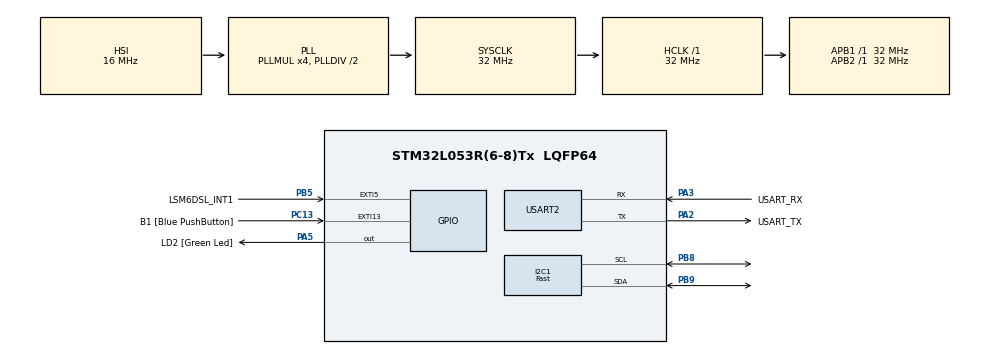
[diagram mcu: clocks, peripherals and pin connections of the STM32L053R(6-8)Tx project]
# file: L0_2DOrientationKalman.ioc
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I2C1.I2C_Speed_Mode=I2C_Fast
I2C1.Timing=0x00300F38
Mcu.Family=STM32L0
Mcu.Name=STM32L053R(6-8)Tx
Mcu.Package=LQFP64
NVIC.EXTI4_15_IRQn=true\:0\:0\:false\:true\:true\:1\:true
PA13.GPIO_Label=TMS
PA13.Mode=Serial_Wire
PA13.Signal=SYS_SWDIO
PA14.GPIO_Label=TCK
PA14.Mode=Serial_Wire
PA14.Signal=SYS_SWCLK
PA2.GPIO_Label=USART_TX
PA2.Mode=Asynchronous
PA2.Signal=USART2_TX
PA3.GPIO_Label=USART_RX
PA3.Mode=Asynchronous
PA3.Signal=USART2_RX
PA5.GPIO_Label=LD2 [Green Led]
PA5.Signal=GPIO_Output
PB5.GPIO_Label=LSM6DSL_INT1
PB5.Signal=GPXTI5
PB8.Mode=I2C
PB8.Signal=I2C1_SCL
PB9.Mode=I2C
PB9.Signal=I2C1_SDA
PC13.GPIO_Label=B1 [Blue PushButton]
PC13.GPIO_ModeDefaultEXTI=GPIO_MODE_IT_FALLING
PC13.Signal=GPXTI13
PC14-OSC32_IN.Signal=RCC_OSC32_IN
PC15-OSC32_OUT.Signal=RCC_OSC32_OUT
PH0-OSC_IN.Signal=RCC_OSC_IN
PH1-OSC_OUT.Signal=RCC_OSC_OUT
ProjectManager.HeapSize=0x200
ProjectManager.StackSize=0x400
ProjectManager.TargetToolchain=SW4STM32
RCC.AHBFreq_Value=32000000
RCC.APB1Freq_Value=32000000
RCC.APB1TimFreq_Value=32000000
RCC.APB2Freq_Value=32000000
RCC.APB2TimFreq_Value=32000000
RCC.HCLKFreq_Value=32000000
RCC.HSE_VALUE=8000000
RCC.HSI16_VALUE=16000000
RCC.HSI48_VALUE=48000000
RCC.HSI_VALUE=16000000
RCC.LSEState=RCC_LSE_ON
RCC.LSE_VALUE=32768
RCC.MSI_VALUE=2097000
RCC.PLLMUL=RCC_PLLMUL_4
RCC.SYSCLKFreq_VALUE=32000000
RCC.SYSCLKSource=RCC_SYSCLKSOURCE_PLLCLK
RCC.VCOOutputFreq_Value=64000000
USART2.VirtualMode-Asynchronous=VM_ASYNC
USART2.WordLength=WORDLENGTH_8B
board=NUCLEO-L053R8

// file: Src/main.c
/**
  ******************************************************************************
  * File Name          : main.c
  * Description        : Main program body
  ******************************************************************************
  ** This notice applies to any and all portions of this file
  * that are not between comment pairs USER CODE BEGIN and
  * USER CODE END. Other portions of this file, whether
  * inserted by the user or by software development tools
  * are owned by their respective copyright owners.
  *
  * COPYRIGHT(c) 2017 STMicroelectronics
  *
  * Redistribution and use in source and binary forms, with or without modification,
  * are permitted provided that the following conditions are met:
  *   1. Redistributions of source code must retain the above copyright notice,
  *      this list of conditions and the following disclaimer.
  *   2. Redistributions in binary form must reproduce the above copyright notice,
  *      this list of conditions and the following disclaimer in the documentation
  *      and/or other materials provided with the distribution.
  *   3. Neither the name of STMicroelectronics nor the names of its contributors
  *      may be used to endorse or promote products derived from this software
  *      without specific prior written permission.
  *
  * THIS SOFTWARE IS PROVIDED BY THE COPYRIGHT HOLDERS AND CONTRIBUTORS "AS IS"
  * AND ANY EXPRESS OR IMPLIED WARRANTIES, INCLUDING, BUT NOT LIMITED TO, THE
  * IMPLIED WARRANTIES OF MERCHANTABILITY AND FITNESS FOR A PARTICULAR PURPOSE ARE
  * DISCLAIMED. IN NO EVENT SHALL THE COPYRIGHT HOLDER OR CONTRIBUTORS BE LIABLE
  * FOR ANY DIRECT, INDIRECT, INCIDENTAL, SPECIAL, EXEMPLARY, OR CONSEQUENTIAL
  * DAMAGES (INCLUDING, BUT NOT LIMITED TO, PROCUREMENT OF SUBSTITUTE GOODS OR
  * SERVICES; LOSS OF USE, DATA, OR PROFITS; OR BUSINESS INTERRUPTION) HOWEVER
  * CAUSED AND ON ANY THEORY OF LIABILITY, WHETHER IN CONTRACT, STRICT LIABILITY,
  * OR TORT (INCLUDING NEGLIGENCE OR OTHERWISE) ARISING IN ANY WAY OUT OF THE USE
  * OF THIS SOFTWARE, EVEN IF ADVISED OF THE POSSIBILITY OF SUCH DAMAGE.
  *
  ******************************************************************************
  */
#include "main.h"
#include "stm32l0xx_hal.h"
#include "i2c.h"
#include "usart.h"
#include "gpio.h"

/* USER CODE BEGIN Includes */
#include <accelerometer.h>
#include <gyroscope.h>
#include <x_nucleo_iks01a2_accelero.h>
#include <x_nucleo_iks01a2_gyro.h>
#include "orientation_estimation.h"
#include <math.h>
/* USER CODE END Includes */

/* USER CODE BEGIN PV */
/* Private variables ---------------------------------------------------------*/
#define FIFO_WATERMARK 25
#define LSM6DSL_SAMPLE_ODR	ODR_LOW
#define LSM6DSL_FIFO_MAX_ODR 26

#define PATTERN_GYR_X_AXIS 0
#define PATTERN_GYR_Y_AXIS 1
#define PATTERN_GYR_Z_AXIS 2

DrvContextTypeDef *Accelero;
DrvContextTypeDef *Gyro;
unsigned char dataAvailable = 0;
/* USER CODE END PV */

void SystemClock_Config(void);
static void MX_NVIC_Init(void);

/* USER CODE BEGIN PFP */
/* Private function prototypes -----------------------------------------------*/
static DrvStatusTypeDef LSM6DSL_FIFO_Config(void);
static DrvStatusTypeDef LSM6DSL_Read_All_FIFO_Data(void);

/* USER CODE END PFP */

int main(void)
{

  /* MCU Configuration----------------------------------------------------------*/

  /* Reset of all peripherals, Initializes the Flash interface and the Systick. */
  HAL_Init();

  /* Configure the system clock */
  SystemClock_Config();

  /* Initialize all configured peripherals */
  MX_GPIO_Init();
  MX_USART2_UART_Init();
  MX_I2C1_Init();

  /* Initialize interrupts */
  MX_NVIC_Init();

  /* USER CODE BEGIN 2 */
  // Initialize the Board support packages for accelero and gyro
  BSP_ACCELERO_Init(LSM6DSL_X_0, (void**)&Accelero);
  BSP_GYRO_Init(LSM6DSL_G_0, (void**)&Gyro);

  BSP_ACCELERO_Check_WhoAmI(Accelero);
  // And enable both sensors
  BSP_ACCELERO_Sensor_Enable(Accelero);
  BSP_GYRO_Sensor_Enable(Gyro);

  // Configure the sensors in FIFO mode,
  LSM6DSL_FIFO_Config();
  // And initialize the estimator with 0 radians, 1g estimation
  orient_est_init(0, 1.0);

  // Finally turn off the LED
  HAL_GPIO_WritePin(LD2_GPIO_Port, LD2_Pin, GPIO_PIN_RESET);
  /* USER CODE END 2 */

  /* Infinite loop */
  while (1)
  {

  /* USER CODE BEGIN 3 */
	  // When data are available
	  if (dataAvailable)
	      {
		  	dataAvailable=0;
		  	// read the FIFO data (and do the estimation)
	      	LSM6DSL_Read_All_FIFO_Data();

	      }
  }
  /* USER CODE END 3 */

}

/** System Clock Configuration
*/
void SystemClock_Config(void)
{

  RCC_OscInitTypeDef RCC_OscInitStruct;
  RCC_ClkInitTypeDef RCC_ClkInitStruct;
  RCC_PeriphCLKInitTypeDef PeriphClkInit;

    /**Configure the main internal regulator output voltage
    */
  __HAL_PWR_VOLTAGESCALING_CONFIG(PWR_REGULATOR_VOLTAGE_SCALE1);

    /**Initializes the CPU, AHB and APB busses clocks
    */
  RCC_OscInitStruct.OscillatorType = RCC_OSCILLATORTYPE_HSI;
  RCC_OscInitStruct.HSIState = RCC_HSI_ON;
  RCC_OscInitStruct.HSICalibrationValue = 16;
  RCC_OscInitStruct.PLL.PLLState = RCC_PLL_ON;
  RCC_OscInitStruct.PLL.PLLSource = RCC_PLLSOURCE_HSI;
  RCC_OscInitStruct.PLL.PLLMUL = RCC_PLLMUL_4;
  RCC_OscInitStruct.PLL.PLLDIV = RCC_PLLDIV_2;
  if (HAL_RCC_OscConfig(&RCC_OscInitStruct) != HAL_OK)
  {
    _Error_Handler(__FILE__, __LINE__);
  }

    /**Initializes the CPU, AHB and APB busses clocks
    */
  RCC_ClkInitStruct.ClockType = RCC_CLOCKTYPE_HCLK|RCC_CLOCKTYPE_SYSCLK
                              |RCC_CLOCKTYPE_PCLK1|RCC_CLOCKTYPE_PCLK2;
  RCC_ClkInitStruct.SYSCLKSource = RCC_SYSCLKSOURCE_PLLCLK;
  RCC_ClkInitStruct.AHBCLKDivider = RCC_SYSCLK_DIV1;
  RCC_ClkInitStruct.APB1CLKDivider = RCC_HCLK_DIV1;
  RCC_ClkInitStruct.APB2CLKDivider = RCC_HCLK_DIV1;

  if (HAL_RCC_ClockConfig(&RCC_ClkInitStruct, FLASH_LATENCY_1) != HAL_OK)
  {
    _Error_Handler(__FILE__, __LINE__);
  }

  PeriphClkInit.PeriphClockSelection = RCC_PERIPHCLK_USART2|RCC_PERIPHCLK_I2C1;
  PeriphClkInit.Usart2ClockSelection = RCC_USART2CLKSOURCE_PCLK1;
  PeriphClkInit.I2c1ClockSelection = RCC_I2C1CLKSOURCE_PCLK1;
  if (HAL_RCCEx_PeriphCLKConfig(&PeriphClkInit) != HAL_OK)
  {
    _Error_Handler(__FILE__, __LINE__);
  }

    /**Configure the Systick interrupt time
    */
  HAL_SYSTICK_Config(HAL_RCC_GetHCLKFreq()/1000);

    /**Configure the Systick
    */
  HAL_SYSTICK_CLKSourceConfig(SYSTICK_CLKSOURCE_HCLK);

  /* SysTick_IRQn interrupt configuration */
  HAL_NVIC_SetPriority(SysTick_IRQn, 0, 0);
}

/** NVIC Configuration
*/
static void MX_NVIC_Init(void)
{
  /* EXTI4_15_IRQn interrupt configuration */
  HAL_NVIC_SetPriority(EXTI4_15_IRQn, 0, 0);
  HAL_NVIC_EnableIRQ(EXTI4_15_IRQn);
}

/* USER CODE BEGIN 4 */

/**
 * @brief Configure the sensor in FIFO mode with a sampling rate of 26Hz
 */
static DrvStatusTypeDef LSM6DSL_FIFO_Config(void)
{
	// Configure the IMU sampling rate
	if (BSP_GYRO_Set_ODR_Value(Gyro, LSM6DSL_FIFO_MAX_ODR) == COMPONENT_ERROR)
		return COMPONENT_ERROR;

	if (BSP_ACCELERO_Set_ODR_Value(Accelero, LSM6DSL_FIFO_MAX_ODR) == COMPONENT_ERROR)
		return COMPONENT_ERROR;

	/** Set Full Scale **/
	if (BSP_GYRO_Set_FS(Gyro, FS_LOW) == COMPONENT_ERROR)
			return COMPONENT_ERROR;

	if (BSP_ACCELERO_Set_FS(Accelero, FS_MID) == COMPONENT_ERROR)
			return COMPONENT_ERROR;

	/** Set FIFO Decimation */
	if (BSP_GYRO_FIFO_Set_Decimation_Ext(Gyro, LSM6DSL_ACC_GYRO_DEC_FIFO_G_NO_DECIMATION) == COMPONENT_ERROR)
		return COMPONENT_ERROR;

	if (BSP_ACCELERO_FIFO_Set_Decimation_Ext(Accelero, LSM6DSL_ACC_GYRO_DEC_FIFO_XL_NO_DECIMATION) == COMPONENT_ERROR)
		return COMPONENT_ERROR;

	/** Set ODR to highest value **/
	if (BSP_GYRO_FIFO_Set_ODR_Value_Ext(Gyro, LSM6DSL_FIFO_MAX_ODR) == COMPONENT_ERROR)
		return COMPONENT_ERROR;

	if (BSP_ACCELERO_FIFO_Set_ODR_Value_Ext(Accelero, LSM6DSL_FIFO_MAX_ODR) == COMPONENT_ERROR)
		return COMPONENT_ERROR;

	/** Set FIFO FULL on INT1 **/
	if (BSP_GYRO_FIFO_Set_INT1_FIFO_Full_Ext(Gyro, LSM6DSL_ACC_GYRO_INT1_FULL_FLAG_ENABLED) == COMPONENT_ERROR)
		return COMPONENT_ERROR;

	/** Set FIFO Watermark **/
	if (BSP_GYRO_FIFO_Set_Watermark_Level_Ext(Gyro, FIFO_WATERMARK) == COMPONENT_ERROR)
		return COMPONENT_ERROR;

	/** Set FIFO depth to be limited to watermark thershold level **/
	if (BSP_GYRO_FIFO_Set_Stop_On_Fth_Ext(Gyro, LSM6DSL_ACC_GYRO_STOP_ON_FTH_ENABLED) == COMPONENT_ERROR)
		return COMPONENT_ERROR;

	if (BSP_GYRO_FIFO_Set_Mode_Ext(Gyro, LSM6DSL_ACC_GYRO_FIFO_MODE_DYN_STREAM_2) == COMPONENT_ERROR)
		return COMPONENT_ERROR;

	return COMPONENT_OK;
}

/**
 * @brief Read all the FIFO data and feed them to the EKF
 */
static DrvStatusTypeDef LSM6DSL_Read_All_FIFO_Data(void)
{
	uint16_t samplesToRead = 0;
	int i =0, j=0;
	uint16_t pattern;
	int32_t velocity;

	int32_t data[6]={0,0,0,0,0,0};
	static int32_t offset=0;
	static uint8_t offset_count = 0;

	/* get samples count */
	if (BSP_GYRO_FIFO_Get_Num_Of_Samples_Ext(Gyro, &samplesToRead) == COMPONENT_ERROR)
		return COMPONENT_ERROR;

	/* Each sample is a 6 component info */
	samplesToRead /= 6;

	// For each sample
	for (i=0;i<samplesToRead;i++)
	{
		// Clear the memory
		memset(data, 0, sizeof(data));
		// Get the data
		for (j=0;j<6;j++)
		{
			if (BSP_GYRO_FIFO_Get_Pattern_Ext(Gyro, &pattern) == COMPONENT_ERROR)
				return COMPONENT_ERROR;

			if (pattern>2)
			{
				if (BSP_ACCELERO_FIFO_Get_Axis_Ext(Accelero, &velocity) == COMPONENT_ERROR)
					return COMPONENT_ERROR;
			}
			else
			{
				if (BSP_GYRO_FIFO_Get_Axis_Ext(Gyro, &velocity) == COMPONENT_ERROR)
					return COMPONENT_ERROR;
			}

			if (pattern<6 && pattern>=0)
				data[pattern] = velocity;
		}

		// Use the first 100 points to estimate the gyroscope bias
		if (offset_count < 100)
		{
			offset += data[1];
			offset_count ++;
		}
		// When offset if known, go for the pose estimation
		else
		{
			// For algorithm performances measurement purpose, the LED flashed during the estimation time
	      	HAL_GPIO_WritePin(LD2_GPIO_Port, LD2_Pin, GPIO_PIN_SET);
	      	float gyro_rate_rad = -((float)(data[1]-offset/100))*2*M_PI/360000.0; // The gyro rate in rad/s
	      	float ax_g = ((float)data[3])/1000.0f; // The X acceleration in g
	      	float az_g = ((float)data[5])/1000.0f; // The Z acceleration in g

			if (orient_est_evolve(gyro_rate_rad) == MATH_ERROR)
				while(1);
			if (orient_est_correct(ax_g, az_g) == MATH_ERROR)
				while(1);
	      	HAL_GPIO_WritePin(LD2_GPIO_Port, LD2_Pin, GPIO_PIN_RESET);
		}
	}
	// Print the results for the user
	printf("%d, %d\n", (int)(orient_est_get_theta()*360.0f/(2.0f*M_PI)), (int)(orient_est_get_g()*1000.0f));

	return COMPONENT_OK;
}

// Handle External interrupt on FIFO Watermark reached for the IMU
void HAL_GPIO_EXTI_Callback(uint16_t GPIO_Pin)
{
	if (GPIO_Pin == GPIO_PIN_5)
	{
		dataAvailable=1;
	}
}

/**
 * @brief Override the _write function to write data to the USART
 */
int _write(_PTR file, const char *buffer, _READ_WRITE_BUFSIZE_TYPE len)
{
	HAL_UART_Transmit(&huart2, buffer, len, 100);
	return len;
}

/* USER CODE END 4 */

void _Error_Handler(char * file, int line)
{
  while(1)
  {
  }
}

/************************ (C) COPYRIGHT STMicroelectronics *****END OF FILE****/
